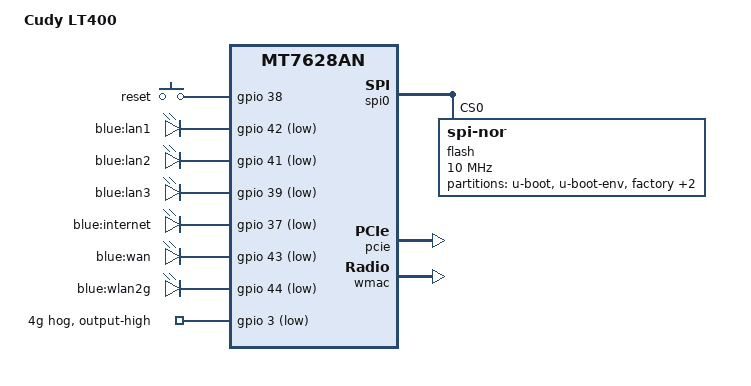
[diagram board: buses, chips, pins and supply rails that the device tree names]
// SPDX-License-Identifier: GPL-2.0-or-later OR MIT

#include "mt7628an.dtsi"

#include <dt-bindings/gpio/gpio.h>
#include <dt-bindings/input/input.h>

/ {
	compatible = "cudy,lt400", "mediatek,mt7628an-soc";
	model = "Cudy LT400";

	aliases {
		led-boot = &led_internet;
		led-failsafe = &led_internet;
		led-upgrade = &led_internet;
		label-mac-device = &wmac;
	};

	chosen {
		bootargs = "console=ttyS0,115200";
	};

	keys {
		compatible = "gpio-keys";

		reset {
			label = "reset";
			gpios = <&gpio 38 GPIO_ACTIVE_HIGH>;
			linux,code = <KEY_RESTART>;
		};
	};

	leds {
		compatible = "gpio-leds";

		lan1 {
			label = "blue:lan1";
			gpios = <&gpio 42 GPIO_ACTIVE_LOW>;
		};

		lan2 {
			label = "blue:lan2";
			gpios = <&gpio 41 GPIO_ACTIVE_LOW>;
		};

		lan3 {
			label = "blue:lan3";
			gpios = <&gpio 39 GPIO_ACTIVE_LOW>;
		};

		led_internet: internet {
			label = "blue:internet";
			gpios = <&gpio 37 GPIO_ACTIVE_LOW>;
		};

		wan {
			label = "blue:wan";
			gpios = <&gpio 43 GPIO_ACTIVE_LOW>;
		};

		wlan2g {
			label = "blue:wlan2g";
			gpios = <&gpio 44 GPIO_ACTIVE_LOW>;
			linux,default-trigger = "phy0tpt";
		};
	};

};

&spi0 {
	status = "okay";

	flash@0 {
		compatible = "jedec,spi-nor";
		reg = <0>;
		spi-max-frequency = <10000000>;

		partitions {
			compatible = "fixed-partitions";
			#address-cells = <1>;
			#size-cells = <1>;

			partition@0 {
				label = "u-boot";
				reg = <0x0 0x30000>;
				read-only;
			};

			partition@30000 {
				label = "u-boot-env";
				reg = <0x30000 0x10000>;
				read-only;
			};

			factory: partition@40000 {
				label = "factory";
				reg = <0x40000 0x10000>;
				read-only;
			};

			partition@50000 {
				compatible = "denx,uimage";
				label = "firmware";
				reg = <0x50000 0x7b0000>;
			};

			bdinfo: partition@ff0000 {
				label = "bdinfo";
				reg = <0x7f0000 0x10000>;
				read-only;
			};
		};
	};
};

&state_default {
	gpio {
		groups = "i2s", "refclk", "wdt", "p4led_an",
				"p2led_an", "p1led_an", "p0led_an", "wled_an";
		function = "gpio";
	};
};

&pcie {
	status = "okay";
};

&wmac {
	status = "okay";
	mediatek,mtd-eeprom = <&factory 0x0>;
};

&ethernet {
	nvmem-cells = <&macaddr_bdinfo_de00>;
	nvmem-cell-names = "mac-address";
};

&esw {
	mediatek,portmap = <0x3e>;
	mediatek,portdisable = <0x40>;
};

&gpio {
	4g {
		gpio-hog;
		gpios = <3 GPIO_ACTIVE_LOW>;
		output-high;
	};
};

&bdinfo {
	compatible = "nvmem-cells";
	#address-cells = <1>;
	#size-cells = <1>;

	macaddr_bdinfo_de00: macaddr@de00 {
		reg = <0xde00 0x6>;
	};
};
